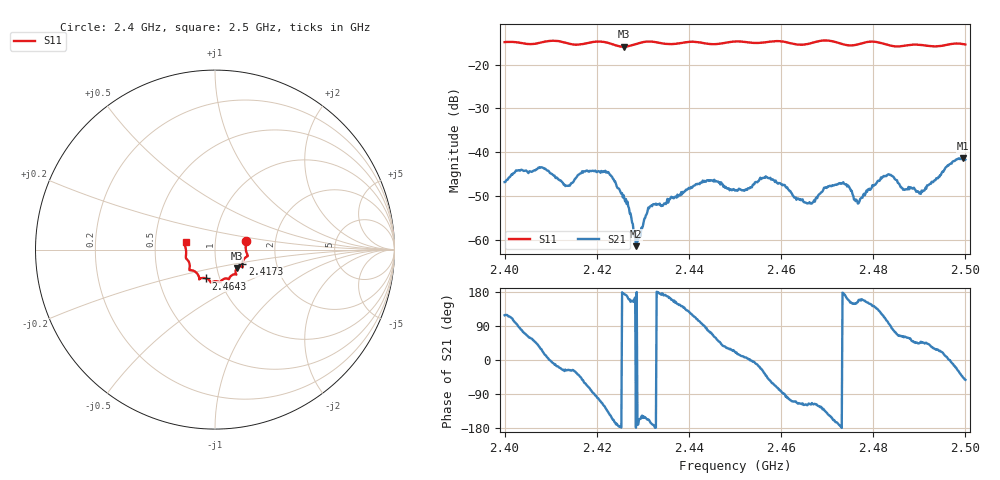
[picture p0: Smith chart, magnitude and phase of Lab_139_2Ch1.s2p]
# Hz S RI R 50
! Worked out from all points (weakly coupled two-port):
!   601 points, 2.4 GHz to 2.5 GHz, reference 50 ohm
!   highest |S21| = -41.34 dB at 2.4995 GHz (marker M1); lowest = -61.4 dB at 2.4285 GHz (marker M2)
!   lowest |S11| = -15.9 dB at 2.4258 GHz (marker M3), VSWR 1.38, Z = 62.3 - j13.2 ohm
!   |S11| at or under -10 dB: start of sweep to end of sweep
!   S12 and S22 are empty: the file has one direction only
!   S11 on the Smith chart (normalised r, x): 2.4 GHz: 1.41, +0.14; 2.4173 GHz: 1.34, -0.23; 2.4643 GHz: 0.86, -0.28; 2.5 GHz: 0.72, +0.06
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2.4e9  0.1733 0.0487  -0.00216 0.00405  0 0  0 0
2.407833e9  0.1769 -0.0198  0.00588 0.00327  0 0  0 0
2.413667e9  0.1689 -0.0448  0.00373 -0.00184  0 0  0 0
2.416667e9  0.1529 -0.0746  0.00392 -0.00434  0 0  0 0
2.417333e9  0.152 -0.0821  0.00296 -0.0053  0 0  0 0
2.422333e9  0.1499 -0.095  -0.00419 -0.00416  0 0  0 0
2.425833e9  0.1215 -0.1037  -0.00324 0.00026  0 0  0 0
2.4285e9  0.1148 -0.1277  -0.000855 -2.03e-05  0 0  0 0
2.429e9  0.1153 -0.1313  -0.00105 -0.000185  0 0  0 0
2.431333e9  0.1189 -0.1392  -0.00214 -0.000852  0 0  0 0
2.433333e9  0.1128 -0.1374  -0.00258 5.31e-05  0 0  0 0
2.4435e9  0.0665 -0.161  0.000117 0.00466  0 0  0 0
2.45e9  0.0288 -0.1811  0.00342 0.00133  0 0  0 0
2.457167e9  -0.0151 -0.1806  0.00338 -0.00382  0 0  0 0
2.464333e9  -0.0498 -0.1605  -0.00122 -0.00258  0 0  0 0
2.466667e9  -0.0759 -0.1591  -0.00105 -0.0024  0 0  0 0
2.473e9  -0.0912 -0.1469  -0.00447 -0.000303  0 0  0 0
2.476667e9  -0.1231 -0.1169  -0.00233 0.00119  0 0  0 0
2.483333e9  -0.1403 -0.0897  -0.000632 0.0056  0 0  0 0
2.490333e9  -0.1627 -0.0391  0.00224 0.00252  0 0  0 0
2.4995e9  -0.1664 0.0396  0.00589 -0.00622  0 0  0 0
2.5e9  -0.1637 0.0426  0.00507 -0.00655  0 0  0 0
